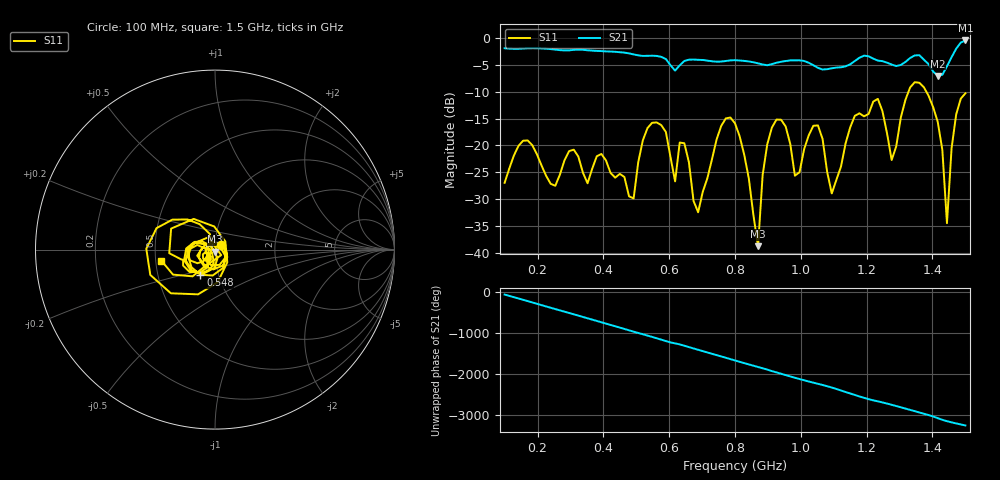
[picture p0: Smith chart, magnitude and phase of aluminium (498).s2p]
! NanoVNA-App
! Date: 2025-09-25 14:59:09
! Start: 100MHz Stop: 1,5GHz Points: 101
! S-Parameter data: F S11 S21 S12 S22
# Hz S RI R 50
!  Frequency  S11_Real  S11_Imag  S21_Real  S21_Imag  S12_Real  S12_Imag  S22_Real  S22_Imag
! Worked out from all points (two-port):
!   101 points, 100 MHz to 1.5 GHz, reference 50 ohm
!   highest |S21| = -0.47 dB at 1.5 GHz (marker M1); lowest = -7.1 dB at 1.416 GHz (marker M2)
!   |S21| within 3 dB of the highest: start of sweep to 571.9 MHz; 1.459 GHz to end of sweep (the widest 2 of 4)
!   lowest |S11| = -38.7 dB at 870 MHz (marker M3), VSWR 1.02, Z = 50.1 - j1.15 ohm
!   |S11| at or under -10 dB: start of sweep to 1.327 GHz; 1.381 GHz to end of sweep
!   S12 and S22 are empty: the file has one direction only
!   S11 on the Smith chart (normalised r, x): 100 MHz: 1.07, +0.06; 548 MHz: 0.82, -0.24; 1.5 GHz: 0.54, -0.07
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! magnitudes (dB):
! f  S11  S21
! 100 MHz  -27.0  -1.9
! 156 MHz  -19.1  -2.0
! 338 MHz  -25.1  -2.2
! 492 MHz  -29.9  -3.1
! 548 MHz  -15.8  -3.3
! 576 MHz  -16.2  -3.5
! 618 MHz  -26.7  -6.1
! 646 MHz  -19.6  -4.3
! 688 MHz  -32.4  -4.1
! 800 MHz  -15.9  -4.1
! 870 MHz  -38.7  -4.7
! 912 MHz  -16.7  -4.9
! 982 MHz  -25.6  -4.2
! 1.038 GHz  -16.3  -5.1
! 1.094 GHz  -28.9  -5.7
! 1.234 GHz  -11.3  -4.2
! 1.276 GHz  -22.7  -5.0
! 1.346 GHz  -8.2  -3.3
! 1.416 GHz  -15.6  -7.1
! 1.444 GHz  -34.5  -5.3
! 1.472 GHz  -14.2  -2.0
! 1.5 GHz  -10.3  -0.5
